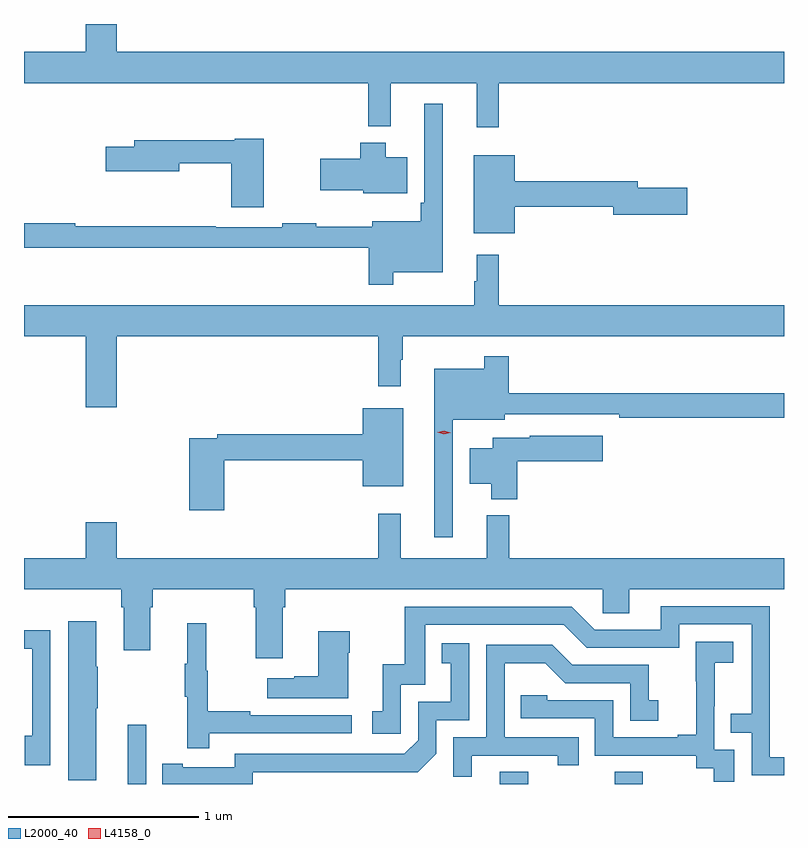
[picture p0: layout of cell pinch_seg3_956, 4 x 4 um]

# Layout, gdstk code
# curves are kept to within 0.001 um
import gdstk
lib = gdstk.Library(unit=1e-6, precision=1e-09)
def R(c, l, rs):  # rectangles x0, y0, x1, y1
    for r in rs: c.add(gdstk.rectangle(r[:2], r[2:], *l))
def P(c, l, *ps):  # polygons
    for p in ps: c.add(gdstk.Polygon(p, *l))
L2000_40 = (2000, 40)
L4158_0 = (4158, 0)

pinch_seg3_956 = lib.new_cell('pinch_seg3_956')
R(pinch_seg3_956, L2000_40, [(440.954,741.183,441.051,741.496), (442.913,741.183,443.061,741.248), (443.518,741.183,443.665,741.248)])
P(pinch_seg3_956, L2000_40, [(442.907,744.872),(444.408,744.872),(444.408,745.036),(440.896,745.036),(440.896,745.183),(440.732,745.183),(440.732,745.036),(440.408,745.036),(440.408,744.872),(442.219,744.872),(442.219,744.644),(442.337,744.644),(442.337,744.872),(442.79,744.872),(442.79,744.639),(442.907,744.639)],
  [(442.351,743.876),(442.612,743.876),(442.612,744.763),(442.515,744.763),(442.515,744.241),(442.495,744.241),(442.495,744.145),(442.241,744.145),(442.241,744.116),(441.945,744.116),(441.945,744.134),(441.766,744.134),(441.766,744.114),(441.416,744.114),(441.416,744.119),(440.678,744.119),(440.678,744.134),(440.408,744.134),(440.408,744.006),(442.222,744.006),(442.222,743.811),(442.351,743.811)],
  [(441.67,744.579),(441.516,744.579),(441.516,744.571),(440.987,744.571),(440.987,744.537),(440.838,744.537),(440.838,744.407),(441.226,744.407),(441.226,744.45),(441.5,744.45),(441.5,744.219),(441.67,744.219)],
  [(442.426,744.481),(442.312,744.481),(442.312,744.559),(442.178,744.559),(442.178,744.474),(441.966,744.474),(441.966,744.308),(442.194,744.308),(442.194,744.293),(442.426,744.293)],
  [(442.99,744.22),(443.51,744.22),(443.51,744.178),(443.899,744.178),(443.899,744.32),(443.638,744.32),(443.638,744.356),(442.99,744.356),(442.99,744.493),(442.775,744.493),(442.775,744.083),(442.99,744.083)],
  [(440.896,743.54),(442.273,743.54),(442.273,743.277),(442.39,743.277),(442.39,743.417),(442.402,743.417),(442.402,743.54),(444.408,743.54),(444.408,743.704),(442.907,743.704),(442.907,743.968),(442.79,743.968),(442.79,743.828),(442.779,743.828),(442.779,743.704),(440.408,743.704),(440.408,743.54),(440.732,743.54),(440.732,743.166),(440.896,743.166)],
  [(442.665,743.099),(442.939,743.099),(442.939,743.13),(443.542,743.13),(443.542,743.11),(444.408,743.11),(444.408,743.239),(442.958,743.239),(442.958,743.434),(442.83,743.434),(442.83,743.368),(442.568,743.368),(442.568,742.482),(442.665,742.482)],
  [(441.461,742.888),(442.19,742.888),(442.19,742.751),(442.405,742.751),(442.405,743.161),(442.19,743.161),(442.19,743.024),(441.424,743.024),(441.424,743.004),(441.278,743.004),(441.278,742.623),(441.461,742.623)],
  [(443.003,742.883),(443.455,742.883),(443.455,743.017),(443.07,743.017),(443.07,743.005),(442.874,743.005),(442.874,742.951),(442.754,742.951),(442.754,742.763),(442.868,742.763),(442.868,742.682),(443.003,742.682)],
  [(440.896,742.561),(440.732,742.561),(440.732,742.372),(440.408,742.372),(440.408,742.208),(440.921,742.208),(440.921,742.112),(440.933,742.112),(440.933,741.888),(441.073,741.888),(441.073,742.112),(441.086,742.112),(441.086,742.208),(441.617,742.208),(441.617,742.112),(441.629,742.112),(441.629,741.846),(441.769,741.846),(441.769,742.112),(441.782,742.112),(441.782,742.208),(443.454,742.208),(443.454,742.081),(443.593,742.081),(443.593,742.208),(444.408,742.208),(444.408,742.372),(442.961,742.372),(442.961,742.597),(442.844,742.597),(442.844,742.372),(442.391,742.372),(442.391,742.606),(442.273,742.606),(442.273,742.372),(440.896,742.372)],
  [(444.408,741.324),(444.333,741.324),(444.333,742.119),(443.759,742.119),(443.759,741.996),(443.412,741.996),(443.292,742.116),(442.413,742.116),(442.413,741.814),(442.295,741.814),(442.295,741.567),(442.242,741.567),(442.242,741.447),(442.392,741.447),(442.392,741.705),(442.521,741.705),(442.521,742.02),(443.25,742.02),(443.37,741.9),(443.856,741.9),(443.856,742.023),(444.237,742.023),(444.237,741.554),(444.127,741.554),(444.127,741.453),(444.237,741.453),(444.237,741.228),(444.408,741.228)],
  [(440.788,741.583),(440.796,741.583),(440.796,741.8),(440.788,741.8),(440.788,742.039),(440.642,742.039),(440.642,741.204),(440.788,741.204)],
  [(441.383,741.45),(442.132,741.45),(442.132,741.546),(441.599,741.546),(441.599,741.566),(441.376,741.566),(441.376,741.78),(441.368,741.78),(441.368,742.03),(441.266,742.03),(441.266,741.817),(441.255,741.817),(441.255,741.643),(441.266,741.643),(441.266,741.372),(441.383,741.372)],
  [(440.547,741.992),(440.408,741.992),(440.408,741.894),(440.451,741.894),(440.451,741.438),(440.411,741.438),(440.411,741.282),(440.547,741.282)],
  [(442.114,741.875),(442.122,741.875),(442.122,741.988),(441.956,741.988),(441.956,741.749),(441.83,741.749),(441.83,741.739),(441.687,741.739),(441.687,741.635),(442.114,741.635)],
  [(444.147,741.363),(444.042,741.363),(444.042,741.593),(444.044,741.593),(444.044,741.821),(444.142,741.821),(444.142,741.931),(443.944,741.931),(443.944,741.725),(443.945,741.725),(443.945,741.442),(443.849,741.442),(443.849,741.429),(443.508,741.429),(443.508,741.624),(443.163,741.624),(443.163,741.651),(443.023,741.651),(443.023,741.528),(443.412,741.528),(443.412,741.333),(443.946,741.333),(443.946,741.265),(444.039,741.265),(444.039,741.195),(444.147,741.195)],
  [(441.612,741.246),(442.48,741.245),(442.578,741.342),(442.578,741.519),(442.752,741.519),(442.752,741.925),(442.606,741.925),(442.606,741.819),(442.655,741.819),(442.655,741.615),(442.482,741.615),(442.482,741.414),(442.41,741.342),(441.516,741.342),(441.516,741.27),(441.244,741.27),(441.244,741.29),(441.136,741.29),(441.136,741.183),(441.612,741.183)],
  [(442.765,741.333),(443.216,741.333),(443.216,741.282),(443.327,741.282),(443.327,741.429),(442.938,741.429),(442.938,741.818),(443.152,741.818),(443.256,741.714),(443.598,741.714),(443.598,741.516),(443.746,741.516),(443.746,741.625),(443.697,741.625),(443.697,741.81),(443.293,741.81),(443.188,741.915),(442.842,741.915),(442.842,741.429),(442.668,741.429),(442.668,741.222),(442.765,741.222)])
P(pinch_seg3_956, L4158_0, [(442.618,743.023),(442.583,743.034),(442.583,743.035),(442.583,743.035),(442.619,743.043),(442.654,743.031),(442.655,743.031),(442.654,743.031)])

lib.write_gds('pinch_seg3_956.gds')
